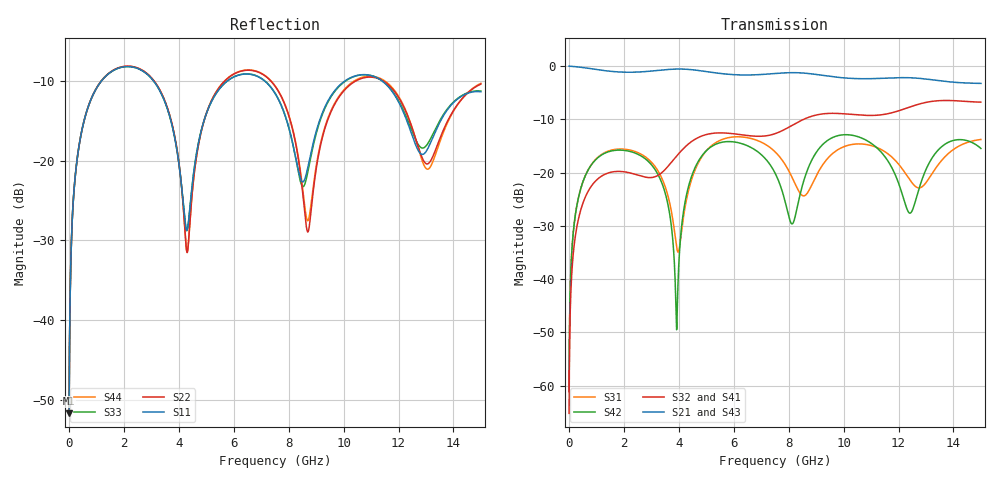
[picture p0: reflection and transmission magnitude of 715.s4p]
! Created with skrf 1.8.0 (http://scikit-rf.org).
# GHz S RI R 50.0
!freq ReS11 ImS11 ReS12 ImS12 ReS13 ImS13
! ReS14 ImS14
! ReS21 ImS21 ReS22 ImS22 ReS23 ImS23
! ReS24 ImS24
! ReS31 ImS31 ReS32 ImS32 ReS33 ImS33
! ReS34 ImS34
! ReS41 ImS41 ReS42 ImS42 ReS43 ImS43
! ReS44 ImS44
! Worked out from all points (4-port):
!   2499 points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, 5 MHz to 15 GHz, reference 50 ohm
!   strongest paths, dB at 5 MHz, 3.476 GHz, 7.19 GHz, 11.1 GHz, 15 GHz:
!     S21: 0.0, -0.7, -1.5, -2.4, -3.3
!     S43: 0.0, -0.7, -1.5, -2.4, -3.3
!     S32: -65.2, -19.5, -13.1, -9.3, -6.8
!     S41: -65.2, -19.6, -13.1, -9.3, -6.8
!     S42: -61.1, -23.4, -17.6, -14.9, -15.5
!     S31: -61.1, -22.3, -14.8, -15.1, -13.8
!   lowest |S11| = -51.7 dB at 5 MHz (marker M1), VSWR 1.01, Z = 50.2 + j0.158 ohm
!   |S11| at or under -10 dB: 3.074 GHz to 5.78 GHz (2.706 GHz wide, 61.1 % of centre); 7.115 GHz to 10.06 GHz (2.943 GHz wide, 34.3 % of centre); 11.39 GHz to end of sweep (the widest 3 of 4)
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0.005  0.00208 0.00157  0.9979 -0.00405  0.000108 0.000871  -0.000104 -0.00054
       0.9979 -0.00405  0.00208 0.00157  -0.000104 -0.00054  0.000108 0.000871
       0.000108 0.000871  -0.000104 -0.00054  0.00208 0.00157  0.9979 -0.00405
       -0.000104 -0.00054  0.000108 0.000871  0.9979 -0.00405  0.00208 0.00157
1.269279  0.2802 0.1711  0.5226 -0.7423  0.1415 0.057  -0.0953 -0.00153
          0.5226 -0.7423  0.2823 0.1697  -0.0953 -0.0015  0.1354 0.0658
          0.1415 0.057  -0.0953 -0.0015  0.2802 0.1712  0.5226 -0.7423
          -0.0953 -0.00153  0.1354 0.0658  0.5226 -0.7423  0.2824 0.1696
3.920383  0.0634 -0.1012  -0.8742 -0.338  -0.017 -0.0104  -0.0473 0.135
          -0.8742 -0.338  0.0547 -0.1085  -0.0469 0.1351  0.00327 0.000733
          -0.017 -0.0104  -0.0469 0.1351  0.0632 -0.1012  -0.8743 -0.3379
          -0.0473 0.135  0.00327 0.000733  -0.8743 -0.3379  0.0548 -0.1083
5.002084  0.1369 0.1411  -0.7973 0.3898  0.1208 0.1052  0.1319 0.1855
          -0.7973 0.3898  0.1318 0.1463  0.1324 0.1852  0.112 0.115
          0.1208 0.1052  0.1324 0.1852  0.1369 0.1415  -0.7971 0.3901
          0.1319 0.1855  0.112 0.115  -0.7971 0.3901  0.1324 0.1467
8.6411  0.0765 0.0301  0.8451 0.1332  -0.045 0.0432  0.0421 -0.3208
        0.8451 0.1332  0.035 -0.0168  0.0413 -0.3215  0.0593 0.0791
        -0.045 0.0432  0.0413 -0.3215  0.0711 0.0284  0.8452 0.1331
        0.0421 -0.3208  0.0593 0.0791  0.8452 0.1331  0.0411 -0.0171
11.43602  0.2965 -0.0968  -0.1378 -0.7559  0.0578 -0.1503  -0.3327 0.1049
          -0.1378 -0.7559  0.3071 -0.0739  -0.333 0.1096  0.0749 -0.1283
          0.0578 -0.1503  -0.333 0.1096  0.3013 -0.0864  -0.1384 -0.7547
          -0.3327 0.1049  0.0749 -0.1283  -0.1384 -0.7547  0.3085 -0.0864
15  0.2692 0.0162  -0.2818 0.6272  0.1379 -0.151  0.4366 0.1385
    -0.2818 0.6272  0.2928 0.071  0.4385 0.1343  0.1536 -0.0695
    0.1379 -0.151  0.4385 0.1343  0.272 0.018  -0.2794 0.627
    0.4366 0.1385  0.1536 -0.0695  -0.2794 0.627  0.2968 0.0689
